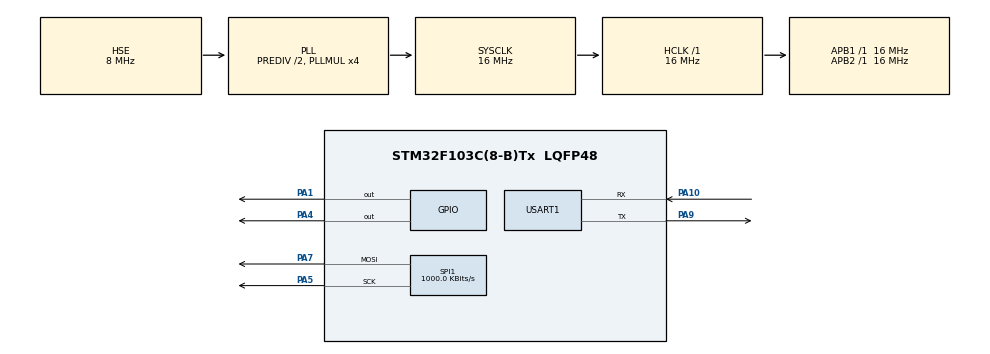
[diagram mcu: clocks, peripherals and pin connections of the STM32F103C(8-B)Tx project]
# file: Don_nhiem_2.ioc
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Mcu.Family=STM32F1
Mcu.Name=STM32F103C(8-B)Tx
Mcu.Package=LQFP48
NVIC.PriorityGroup=NVIC_PRIORITYGROUP_4
NVIC.USART1_IRQn=true\:0\:0\:false\:false\:true\:true\:true\:true
PA1.Signal=GPIO_Output
PA10.Mode=Asynchronous
PA10.Signal=USART1_RX
PA13.Mode=Serial_Wire
PA13.Signal=SYS_JTMS-SWDIO
PA14.Mode=Serial_Wire
PA14.Signal=SYS_JTCK-SWCLK
PA4.GPIO_Speed=GPIO_SPEED_FREQ_HIGH
PA4.Signal=GPIO_Output
PA5.Mode=TX_Only_Simplex_Unidirect_Master
PA5.Signal=SPI1_SCK
PA7.Mode=TX_Only_Simplex_Unidirect_Master
PA7.Signal=SPI1_MOSI
PA9.Mode=Asynchronous
PA9.Signal=USART1_TX
PD0-OSC_IN.Mode=HSE-External-Oscillator
PD0-OSC_IN.Signal=RCC_OSC_IN
PD1-OSC_OUT.Mode=HSE-External-Oscillator
PD1-OSC_OUT.Signal=RCC_OSC_OUT
ProjectManager.HeapSize=0x200
ProjectManager.StackSize=0x400
ProjectManager.TargetToolchain=STM32CubeIDE
RCC.AHBFreq_Value=16000000
RCC.APB1Freq_Value=16000000
RCC.APB1TimFreq_Value=16000000
RCC.APB2Freq_Value=16000000
RCC.APB2TimFreq_Value=16000000
RCC.HCLKFreq_Value=16000000
RCC.HSEDivPLL=RCC_HSE_PREDIV_DIV2
RCC.PLLMUL=RCC_PLL_MUL4
RCC.PLLSourceVirtual=RCC_PLLSOURCE_HSE
RCC.SYSCLKFreq_VALUE=16000000
RCC.SYSCLKSource=RCC_SYSCLKSOURCE_PLLCLK
RCC.USBFreq_Value=16000000
SPI1.BaudRatePrescaler=SPI_BAUDRATEPRESCALER_16
SPI1.CalculateBaudRate=1000.0 KBits/s
SPI1.Direction=SPI_DIRECTION_2LINES
SPI1.Mode=SPI_MODE_MASTER
SPI1.VirtualType=VM_MASTER
TIM1.Prescaler=15
USART1.VirtualMode=VM_ASYNC
VP_TIM1_VS_ClockSourceINT.Mode=Internal
board=custom

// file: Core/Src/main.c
/* USER CODE BEGIN Header */
/**
  ******************************************************************************
  * @file           : main.c
  * @brief          : Main program body
  ******************************************************************************
  * @attention
  *
  * Copyright (c) 2025 STMicroelectronics.
  * All rights reserved.
  *
  * This software is licensed under terms that can be found in the LICENSE file
  * in the root directory of this software component.
  * If no LICENSE file comes with this software, it is provided AS-IS.
  *
  ******************************************************************************
  */
/* USER CODE END Header */
#include "main.h"

/* USER CODE BEGIN Includes */
#include "stm32f1xx_hal.h"
#include "stdio.h"
#include "string.h"
/* USER CODE END Includes */

/* USER CODE BEGIN PD */
 #define DHT11_PORT  GPIOA
 #define DHT11_PIN   GPIO_PIN_1
/* USER CODE END PD */

SPI_HandleTypeDef hspi1;

TIM_HandleTypeDef htim1;

UART_HandleTypeDef huart1;

void SystemClock_Config(void);
static void MX_GPIO_Init(void);
static void MX_SPI1_Init(void);
static void MX_TIM1_Init(void);
static void MX_USART1_UART_Init(void);

/* USER CODE BEGIN 0 */

uint8_t system_running = 1;  // Biến trạng thái: 1 là chạy, 0 là dừng
uint8_t received_data;       // Biến lưu dữ liệu nhận được qua UART

void HAL_UART_RxCpltCallback(UART_HandleTypeDef *huart) {
    if (huart->Instance == USART1) {  // Kiểm tra UART1
        if (received_data == '1') {
            system_running = 1;  // Hệ thống chạy
            HAL_UART_Transmit(&huart1, (uint8_t *)" System Running\r\n", 16, HAL_MAX_DELAY);
        } else if (received_data == '0') {
            system_running = 0;  // Hệ thống dừng
            HAL_UART_Transmit(&huart1, (uint8_t *)" System Stopped\r\n", 16, HAL_MAX_DELAY);
        }
        // Tiếp tục nhận dữ liệu qua UART
        HAL_UART_Receive_IT(&huart1, &received_data, 1);
    }
}

// �?ịnh nghĩa các trạng thái của hệ thống
typedef enum {
	STATE_READ_TEMP,
    STATE_READ_HUMI,
    STATE_SEND_UART,
    STATE_UPDATE_LED
} SystemState;

SystemState currentState = STATE_READ_TEMP;

uint8_t digit_codes[10] = {
    0xC0, // 0
    0xF9, // 1
    0xA4, // 2
    0xB0, // 3
    0x99, // 4
    0x92, // 5
    0x82, // 6
    0xF8, // 7
    0x80, // 8
    0x90  // 9
};

uint8_t dp[10] = {
    0x40, // 0
    0x79, // 1
    0x24, // 2
    0x30, // 3
    0x19, // 4
    0x12, // 5
    0x02, // 6
    0x78, // 7
    0x00, // 8
    0x10  // 9
};

void ConvertNumberToDigits(uint16_t number, uint8_t *digits){
    digits[3] = digit_codes[number % 10];
    digits[2] = digit_codes[(number / 10) % 10];
    digits[1] = dp[(number / 100) % 10];
    digits[0] = digit_codes[(number / 1000) % 10];
}

void SendToLED_SPI(uint8_t* digits){
    // LOAD xuống thấp trước khi gửi dữ liệu
    HAL_GPIO_WritePin(GPIOA, GPIO_PIN_4, GPIO_PIN_RESET);

    // Gửi lần lượt 4 byte (4 chữ số) qua SPI
    for (int i = 0; i < 4; i++){
        HAL_SPI_Transmit(&hspi1, &digits[3 - i], 1, HAL_MAX_DELAY); // Gửi byte từ trái sang phải
    }

    // LOAD lên cao để chốt dữ liệu hiển thị
    HAL_GPIO_WritePin(GPIOA, GPIO_PIN_4, GPIO_PIN_SET);
}

void delay(uint16_t time){
	 __HAL_TIM_SET_COUNTER(&htim1,0);
	 while((__HAL_TIM_GET_COUNTER(&htim1)) < time);
 }

 uint8_t R1, R2, T1, T2;
 uint16_t sum;
 float RH, TEMP;
 float Temperature = 0;
 float Humidity = 0;
 uint8_t Presence = 0;

 void SET_PIN_OUTPUT (GPIO_TypeDef *GPIOx, uint16_t GPIO_Pin){
  GPIO_InitTypeDef GPIO_InitStruct = {0};
  /*Configure GPIO pin : PA1 */
  GPIO_InitStruct.Pin = GPIO_Pin;
  GPIO_InitStruct.Mode = GPIO_MODE_OUTPUT_PP;
  GPIO_InitStruct.Pull = GPIO_NOPULL;
  GPIO_InitStruct.Speed = GPIO_SPEED_FREQ_LOW;
  HAL_GPIO_Init(GPIOA, &GPIO_InitStruct);
 }

 void SET_PIN_INPUT (GPIO_TypeDef *GPIOx, uint16_t GPIO_Pin){
	GPIO_InitTypeDef GPIO_InitStruct = {0};
  /*Configure GPIO pin : PA1 */
  GPIO_InitStruct.Pin = GPIO_Pin;
  GPIO_InitStruct.Mode = GPIO_MODE_INPUT;
  GPIO_InitStruct.Pull = GPIO_NOPULL;
  HAL_GPIO_Init(GPIOA, &GPIO_InitStruct);
 }

 void DHT11_Start (void){
 	SET_PIN_OUTPUT(DHT11_PORT, DHT11_PIN);
 	HAL_GPIO_WritePin(DHT11_PORT, DHT11_PIN, 0);
 	delay(18000);   // wait for 18ms
 	HAL_GPIO_WritePin (DHT11_PORT, DHT11_PIN, 1);
 	delay(20);
 	SET_PIN_INPUT(DHT11_PORT, DHT11_PIN);
 }

  uint8_t Check_Response (void){
 	uint8_t Response = 0;
 	delay (40);
 	if (!(HAL_GPIO_ReadPin (DHT11_PORT, DHT11_PIN))){
 		delay (80);
 		if ((HAL_GPIO_ReadPin (DHT11_PORT, DHT11_PIN))) Response = 1;
 		else Response = -1;  //255
 	}
 	while ((HAL_GPIO_ReadPin (DHT11_PORT, DHT11_PIN)));   // doi pin xung thap

 	return Response;
 }

 uint8_t DHT11_Read (void){
 	uint8_t i, j;
 	for (j=0; j<8; j++){
 		while (!(HAL_GPIO_ReadPin (DHT11_PORT, DHT11_PIN)));
 		delay (40);   // wait for 40 us, cho trong 40us, neu Readdht11 ma xuong 0 --> nhan bit 0, neu sau 40us ma chua xuong 0--> nhan bit 1
 		if (!(HAL_GPIO_ReadPin (DHT11_PORT, DHT11_PIN)))
 		{
 			i&= ~(1<<(7-j));   // write 0
 		}
 		else {
 			i|= (1<<(7-j));
 		}			// pin high , write 1
 		while ((HAL_GPIO_ReadPin (DHT11_PORT, DHT11_PIN)));
 	}
 	return i;
 }

 void Display(float Temperature, float Humidity) {
 	    //char msg[] = "Task 4 is running\r\n";
 	    //HAL_UART_Transmit(&huart1, (uint8_t *)msg, strlen(msg), HAL_MAX_DELAY);
      uint16_t temp_humi_display;
      uint8_t digits[4]; // Mảng lưu từng chữ số

      // Chuyển đổi nhiệt độ và độ ẩm thành giá trị nguyên để hiển thị
      temp_humi_display = (uint8_t)Temperature * 100 + (uint8_t)Humidity;

      // Tách từng chữ số từ giá trị
      ConvertNumberToDigits(temp_humi_display, digits);

      // Gửi dữ liệu đến LED thông qua giao tiếp SPI
      SendToLED_SPI(digits);
  }

 void StateMachine_Run(void) {

     switch (currentState) {

         case STATE_READ_TEMP:

     	    char msg1[] = "Task 1 is running\r\n";
     	    HAL_UART_Transmit(&huart1, (uint8_t *)msg1, strlen(msg1), HAL_MAX_DELAY);

            DHT11_Start();                     // Kích hoạt giao tiếp với DHT11
            Presence = Check_Response();       // Kiểm tra phản hồi từ DHT11
            R1 = DHT11_Read();             // �?�?c phần nguyên độ ẩm
            R2 = DHT11_Read();             // �?�?c phần thập phân độ ẩm
            T1 = DHT11_Read();             // �?�?c phần nguyên nhiệt độ
            T2 = DHT11_Read();             // �?�?c phần thập phân nhiệt độ
            sum = DHT11_Read();            // �?�?c checksum để kiểm tra tính hợp lệ

            TEMP = T1 + T2 / 10.0;         // Tính nhiệt độ (phần nguyên + phần thập phân)
            Temperature = TEMP;

            currentState = STATE_READ_HUMI; // Chuyển sang trạng thái hiển thị LED
            break;

         case STATE_READ_HUMI:

     	    char msg2[] = "Task 2 is running\r\n";
     	    HAL_UART_Transmit(&huart1, (uint8_t *)msg2, strlen(msg2), HAL_MAX_DELAY);

            RH = R1;
            Humidity = RH;
            currentState = STATE_SEND_UART; // Chuyển sang trạng thái hiển thị LED
            break;

         case STATE_SEND_UART:
     	    char msg3[] = "Task 3 is running\r\n";
     	    HAL_UART_Transmit(&huart1, (uint8_t *)msg3, strlen(msg3), HAL_MAX_DELAY);

            char buffer[50];
            // Gửi nhiệt độ
            snprintf(buffer, sizeof(buffer), "Temp: %.1f \n", Temperature);
            HAL_UART_Transmit(&huart1, (uint8_t *)buffer, strlen(buffer), HAL_MAX_DELAY);

            // Gửi độ ẩm
            snprintf(buffer, sizeof(buffer), "Hum: %.1f \n", Humidity);
            HAL_UART_Transmit(&huart1, (uint8_t *)buffer, strlen(buffer), HAL_MAX_DELAY);

            currentState = STATE_UPDATE_LED; // Chuyển sang trạng thái hiển thị LED
            break;

         case STATE_UPDATE_LED:
     	    char msg4[] = "Task 4 is running\r\n";
     	    HAL_UART_Transmit(&huart1, (uint8_t *)msg4, strlen(msg4), HAL_MAX_DELAY);
            uint16_t temp_humi_display;
            uint8_t digits[4]; // Mảng lưu từng chữ số

            // Chuyển đổi nhiệt độ và độ ẩm thành giá trị nguyên để hiển thị
            temp_humi_display = (uint8_t)Temperature * 100 + (uint8_t)Humidity;

            // Tách từng chữ số từ giá trị
            ConvertNumberToDigits(temp_humi_display, digits);

            // Gửi dữ liệu đến LED thông qua giao tiếp SPI
            SendToLED_SPI(digits);

            currentState = STATE_READ_TEMP; // Quay lại trạng thái đ�?c cảm biến
            break;

         default:
            currentState = STATE_READ_TEMP; // Reset trạng thái nếu gặp lỗi
            break;
     }
 }

/* USER CODE END 0 */

int main(void)
{

  /* MCU Configuration--------------------------------------------------------*/

  /* Reset of all peripherals, Initializes the Flash interface and the Systick. */
  HAL_Init();

  /* Configure the system clock */
  SystemClock_Config();

  /* Initialize all configured peripherals */
  MX_GPIO_Init();
  MX_SPI1_Init();
  MX_TIM1_Init();
  MX_USART1_UART_Init();
  /* USER CODE BEGIN 2 */
  HAL_TIM_Base_Start(&htim1);
  HAL_UART_Receive_IT(&huart1, &received_data, 1);
  /* USER CODE END 2 */

  /* Infinite loop */
  while (1)
  {

    /* USER CODE BEGIN 3 */
	  if (system_running) {
      StateMachine_Run(); // Chạy máy trạng thái
      HAL_Delay(1000);    // Chu kỳ lặp lại sau mỗi 1 giây
	  } else {
  	    Display(00, 00);
  	    HAL_Delay(2000);
      }
  }
  /* USER CODE END 3 */
}

void SystemClock_Config(void)
{
  RCC_OscInitTypeDef RCC_OscInitStruct = {0};
  RCC_ClkInitTypeDef RCC_ClkInitStruct = {0};

  /** Initializes the RCC Oscillators according to the specified parameters
  * in the RCC_OscInitTypeDef structure.
  */
  RCC_OscInitStruct.OscillatorType = RCC_OSCILLATORTYPE_HSE;
  RCC_OscInitStruct.HSEState = RCC_HSE_ON;
  RCC_OscInitStruct.HSEPredivValue = RCC_HSE_PREDIV_DIV2;
  RCC_OscInitStruct.HSIState = RCC_HSI_ON;
  RCC_OscInitStruct.PLL.PLLState = RCC_PLL_ON;
  RCC_OscInitStruct.PLL.PLLSource = RCC_PLLSOURCE_HSE;
  RCC_OscInitStruct.PLL.PLLMUL = RCC_PLL_MUL4;
  if (HAL_RCC_OscConfig(&RCC_OscInitStruct) != HAL_OK)
  {
    Error_Handler();
  }

  /** Initializes the CPU, AHB and APB buses clocks
  */
  RCC_ClkInitStruct.ClockType = RCC_CLOCKTYPE_HCLK|RCC_CLOCKTYPE_SYSCLK
                              |RCC_CLOCKTYPE_PCLK1|RCC_CLOCKTYPE_PCLK2;
  RCC_ClkInitStruct.SYSCLKSource = RCC_SYSCLKSOURCE_PLLCLK;
  RCC_ClkInitStruct.AHBCLKDivider = RCC_SYSCLK_DIV1;
  RCC_ClkInitStruct.APB1CLKDivider = RCC_HCLK_DIV1;
  RCC_ClkInitStruct.APB2CLKDivider = RCC_HCLK_DIV1;

  if (HAL_RCC_ClockConfig(&RCC_ClkInitStruct, FLASH_LATENCY_0) != HAL_OK)
  {
    Error_Handler();
  }
}

static void MX_SPI1_Init(void)
{

  /* SPI1 parameter configuration*/
  hspi1.Instance = SPI1;
  hspi1.Init.Mode = SPI_MODE_MASTER;
  hspi1.Init.Direction = SPI_DIRECTION_2LINES;
  hspi1.Init.DataSize = SPI_DATASIZE_8BIT;
  hspi1.Init.CLKPolarity = SPI_POLARITY_LOW;
  hspi1.Init.CLKPhase = SPI_PHASE_1EDGE;
  hspi1.Init.NSS = SPI_NSS_SOFT;
  hspi1.Init.BaudRatePrescaler = SPI_BAUDRATEPRESCALER_16;
  hspi1.Init.FirstBit = SPI_FIRSTBIT_MSB;
  hspi1.Init.TIMode = SPI_TIMODE_DISABLE;
  hspi1.Init.CRCCalculation = SPI_CRCCALCULATION_DISABLE;
  hspi1.Init.CRCPolynomial = 10;
  if (HAL_SPI_Init(&hspi1) != HAL_OK)
  {
    Error_Handler();
  }

}

static void MX_TIM1_Init(void)
{

  TIM_ClockConfigTypeDef sClockSourceConfig = {0};
  TIM_MasterConfigTypeDef sMasterConfig = {0};

  htim1.Instance = TIM1;
  htim1.Init.Prescaler = 15;
  htim1.Init.CounterMode = TIM_COUNTERMODE_UP;
  htim1.Init.Period = 65535;
  htim1.Init.ClockDivision = TIM_CLOCKDIVISION_DIV1;
  htim1.Init.RepetitionCounter = 0;
  htim1.Init.AutoReloadPreload = TIM_AUTORELOAD_PRELOAD_DISABLE;
  if (HAL_TIM_Base_Init(&htim1) != HAL_OK)
  {
    Error_Handler();
  }
  sClockSourceConfig.ClockSource = TIM_CLOCKSOURCE_INTERNAL;
  if (HAL_TIM_ConfigClockSource(&htim1, &sClockSourceConfig) != HAL_OK)
  {
    Error_Handler();
  }
  sMasterConfig.MasterOutputTrigger = TIM_TRGO_RESET;
  sMasterConfig.MasterSlaveMode = TIM_MASTERSLAVEMODE_DISABLE;
  if (HAL_TIMEx_MasterConfigSynchronization(&htim1, &sMasterConfig) != HAL_OK)
  {
    Error_Handler();
  }

}

static void MX_USART1_UART_Init(void)
{

  huart1.Instance = USART1;
  huart1.Init.BaudRate = 115200;
  huart1.Init.WordLength = UART_WORDLENGTH_8B;
  huart1.Init.StopBits = UART_STOPBITS_1;
  huart1.Init.Parity = UART_PARITY_NONE;
  huart1.Init.Mode = UART_MODE_TX_RX;
  huart1.Init.HwFlowCtl = UART_HWCONTROL_NONE;
  huart1.Init.OverSampling = UART_OVERSAMPLING_16;
  if (HAL_UART_Init(&huart1) != HAL_OK)
  {
    Error_Handler();
  }

}

static void MX_GPIO_Init(void)
{
  GPIO_InitTypeDef GPIO_InitStruct = {0};

  /* GPIO Ports Clock Enable */
  __HAL_RCC_GPIOD_CLK_ENABLE();
  __HAL_RCC_GPIOA_CLK_ENABLE();

  /*Configure GPIO pin Output Level */
  HAL_GPIO_WritePin(GPIOA, GPIO_PIN_1|GPIO_PIN_4, GPIO_PIN_RESET);

  /*Configure GPIO pin : PA1 */
  GPIO_InitStruct.Pin = GPIO_PIN_1;
  GPIO_InitStruct.Mode = GPIO_MODE_OUTPUT_PP;
  GPIO_InitStruct.Pull = GPIO_NOPULL;
  GPIO_InitStruct.Speed = GPIO_SPEED_FREQ_LOW;
  HAL_GPIO_Init(GPIOA, &GPIO_InitStruct);

  /*Configure GPIO pin : PA4 */
  GPIO_InitStruct.Pin = GPIO_PIN_4;
  GPIO_InitStruct.Mode = GPIO_MODE_OUTPUT_PP;
  GPIO_InitStruct.Pull = GPIO_NOPULL;
  GPIO_InitStruct.Speed = GPIO_SPEED_FREQ_HIGH;
  HAL_GPIO_Init(GPIOA, &GPIO_InitStruct);

}

void Error_Handler(void)
{
  __disable_irq();
  while (1)
  {
  }
}
